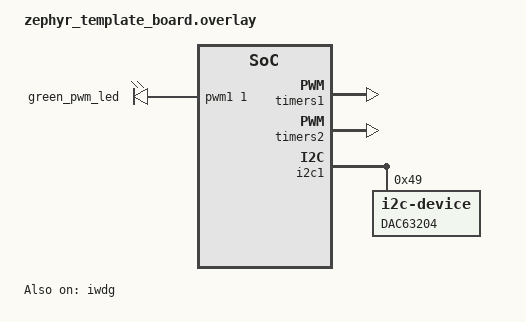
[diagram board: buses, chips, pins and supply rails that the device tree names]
/ {
    pwmleds: pwmleds {
        compatible = "pwm-leds";
        status = "okay";

        green_pwm_led: green_pwm_led {
            pwms = <&pwm1 1 PWM_MSEC(5) PWM_POLARITY_NORMAL>;
        };
    };

    aliases {
        led0 = &led;
        pwm-led0 = &green_pwm_led;
        uart0 = &usart1;
        watchdog0 = &iwdg;
    };
};

// Flash partition for MCUboot and storage partition
&flash0 {
    compatible = "st,stm32-nv-flash", "soc-nv-flash";

    partitions {
        compatible = "fixed-partitions";
        #address-cells = <0x1>;
        #size-cells = <0x1>;

        /*
         * MCUBoot partitions:
         * https: //docs.zephyrproject.org/latest/services/storage/flash_map/flash_map.html#flash-map-api
         */

        /*
         * Boot partition 32k + 8 k
         */
        boot_partition: partition@0 {
            reg = <0x0 0xA000>;
            /* read-only; */
        };
        /*
         * Slot0 partition 32k + 8 k
         */
        slot0_partition: partition@a000 {
            reg = <0xA000 0xA000>;
        };
        /*
         * Slot1 partition 32k + 8 k
         */
        slot1_partition: partition@140000 {
            reg = <0x14000 0xA0000>;
        };
        /*
         * Storage partition 32k + 8 k
         */
        storage_partition: partition@1e000 {
            reg = <0x1E000 0xA000>;
        };
        /*
         * Scract partition is not defined
        scratch_partition: partition@e0000 {
            reg = <0xe0000 0x20000>;
        };
         */
    };
};

&timers1 {
    compatible = "st,stm32-timers";
    status = "okay";
    st,prescaler = <10000>;

    pwm1: pwm {
        compatible = "st,stm32-pwm";
        status = "okay";
        pinctrl-0 = <&tim1_ch1_pwm_out_pa8>;
        pinctrl-names = "default";
    };
};

&timers2 {
    compatible = "st,stm32-timers";
    status = "okay";
    st,prescaler = <10000>;
    pwm2: pwm {
        compatible = "st,stm32-pwm";
        status = "disabled";
        pinctrl-0 = <&tim2_ch1_pwm_out_pa0>;
        pinctrl-names = "default";
    };
    counter2: counter {
        status = "okay";
    };
};

// Need to define the AF2 for timer1
&pinctrl {
    /omit-if-no-ref/ tim1_ch1_pwm_out_pe9: tim1_ch1_pwm_out_pe9 {
        pinmux = <STM32F1_PINMUX('E', 9, ALTERNATE, TIM1_REMAP2)>;
    };
};

// USART over DMA
&usart1 {
    dmas = <&dma1 4 (STM32_DMA_PERIPH_TX | STM32_DMA_PRIORITY_HIGH)>,
           <&dma1 5 (STM32_DMA_PERIPH_RX | STM32_DMA_PRIORITY_HIGH)>;
    dma-names = "tx", "rx";
};

&dma1 {
    status = "okay";
};

/*
 * I2C configuration
 * I2C1: scl_pb6 sda_pb7
 */
&i2c1 {
    dac63204: dac63204@49 {
        compatible = "i2c-device";
        reg = <0x49>;
        label = "DAC63204";
    };
};

/**
 * WDT configuration
 * IWDG(max 40 kHz LSI): 26214.4 ms
 * WWDG(max 36 MHz f_pclk1): 58.25 ms
 */
&iwdg {
    status = "okay";
};

&wwdg {
    status = "disabled";
};
